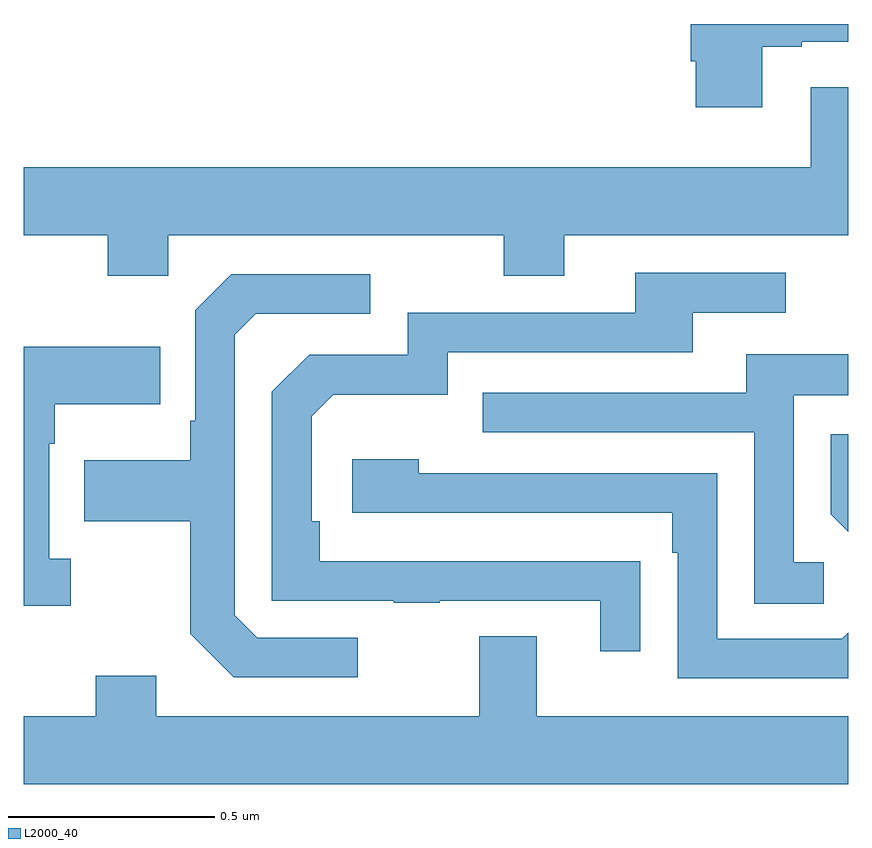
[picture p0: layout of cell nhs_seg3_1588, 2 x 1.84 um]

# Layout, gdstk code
import gdstk
lib = gdstk.Library(unit=1e-6, precision=1e-09)
def P(c, l, *ps):  # polygons
    for p in ps: c.add(gdstk.Polygon(p, *l))
L2000_40 = (2000, 40)

nhs_seg3_1588 = lib.new_cell('nhs_seg3_1588')
P(nhs_seg3_1588, L2000_40, [(131.791,729.345),(131.887,729.345),(131.887,729.357),(132,729.357),(132,729.4),(131.618,729.4),(131.618,729.31),(131.63,729.31),(131.63,729.198),(131.791,729.198)],
  [(130.35,728.888),(131.164,728.888),(131.164,728.789),(131.311,728.789),(131.311,728.888),(132,728.888),(132,729.247),(131.909,729.247),(131.909,729.052),(130,729.052),(130,728.888),(130.204,728.888),(130.204,728.789),(130.35,728.789)],
  [(131.495,728.096),(131.393,728.096),(131.393,728.097),(130.718,728.097),(130.718,728.194),(130.698,728.194),(130.698,728.448),(130.751,728.501),(131.028,728.501),(131.028,728.604),(131.623,728.604),(131.623,728.7),(131.848,728.7),(131.848,728.796),(131.483,728.796),(131.483,728.7),(130.932,728.7),(130.932,728.598),(130.692,728.598),(130.602,728.508),(130.602,728.001),(130.897,728.001),(130.897,727.996),(131.009,727.996),(131.009,728.001),(131.399,728.001),(131.399,727.878),(131.495,727.878)],
  [(130.81,727.911),(130.566,727.911),(130.512,727.965),(130.512,728.646),(130.563,728.697),(130.84,728.697),(130.84,728.793),(130.503,728.793),(130.416,728.706),(130.416,728.437),(130.404,728.437),(130.404,728.341),(130.147,728.341),(130.147,728.194),(130.404,728.194),(130.404,727.921),(130.509,727.815),(130.81,727.815)],
  [(130.114,728.102),(130.062,728.102),(130.062,728.381),(130.075,728.381),(130.075,728.477),(130.331,728.477),(130.331,728.617),(130,728.617),(130,727.989),(130.114,727.989)],
  [(131.941,728.094),(131.868,728.094),(131.868,728.499),(132,728.499),(132,728.599),(131.753,728.599),(131.753,728.505),(131.113,728.505),(131.113,728.409),(131.772,728.409),(131.772,727.993),(131.941,727.993)],
  [(132,728.404),(131.958,728.404),(131.958,728.21),(132,728.168)],
  [(132,727.923),(131.985,727.908),(131.682,727.908),(131.682,728.31),(130.958,728.31),(130.958,728.344),(130.797,728.344),(130.797,728.214),(131.573,728.214),(131.573,728.117),(131.586,728.117),(131.586,727.812),(132,727.812)],
  [(132,727.72),(131.245,727.72),(131.245,727.915),(131.105,727.915),(131.105,727.72),(130.321,727.72),(130.321,727.819),(130.174,727.819),(130.174,727.72),(130,727.72),(130,727.556),(132,727.556)])

lib.write_gds('nhs_seg3_1588.gds')
